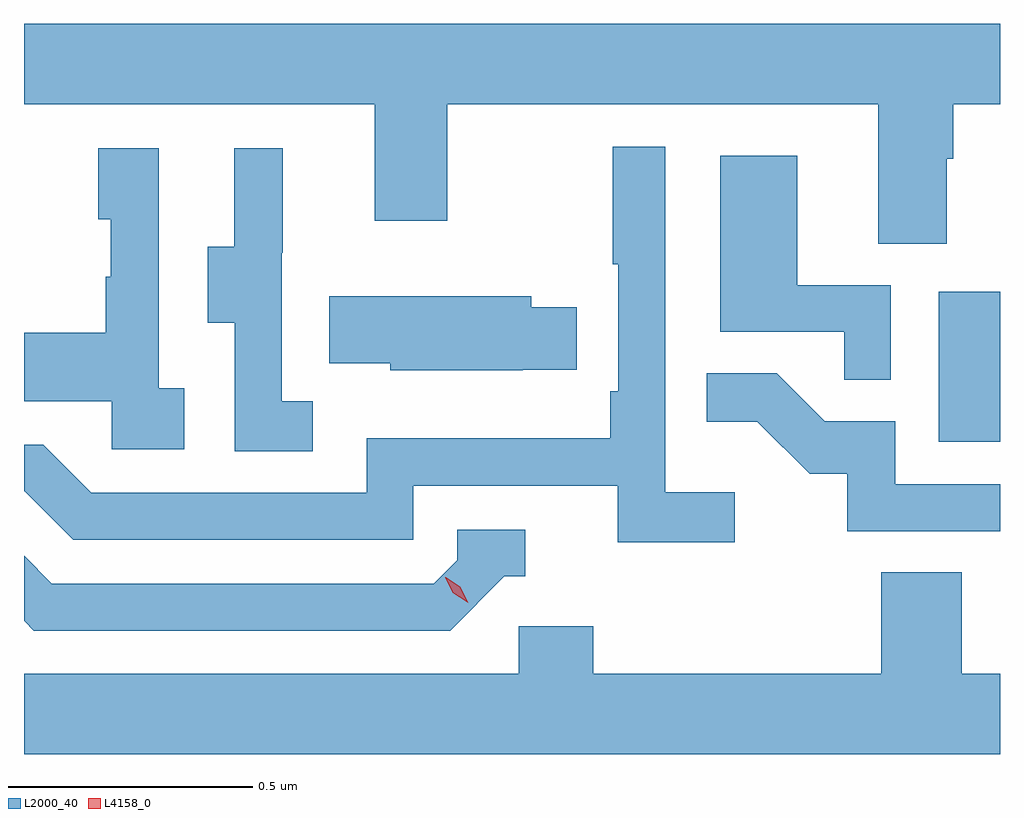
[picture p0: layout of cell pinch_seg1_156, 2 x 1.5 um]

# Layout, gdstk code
import gdstk
lib = gdstk.Library(unit=1e-6, precision=1e-09)
def R(c, l, rs):  # rectangles x0, y0, x1, y1
    for r in rs: c.add(gdstk.rectangle(r[:2], r[2:], *l))
def P(c, l, *ps):  # polygons
    for p in ps: c.add(gdstk.Polygon(p, *l))
L2000_40 = (2000, 40)
L4158_0 = (4158, 0)

pinch_seg1_156 = lib.new_cell('pinch_seg1_156')
R(pinch_seg1_156, L2000_40, [(1107.752,547.044,1107.878,547.351)])
P(pinch_seg1_156, L2000_40, [(1107.769,547.624),(1107.782,547.624),(1107.782,547.736),(1107.878,547.736),(1107.878,547.9),(1105.878,547.9),(1105.878,547.736),(1106.597,547.736),(1106.597,547.497),(1106.745,547.497),(1106.745,547.736),(1107.629,547.736),(1107.629,547.45),(1107.769,547.45)],
  [(1107.334,546.94),(1107.192,546.94),(1107.192,547.648),(1107.084,547.648),(1107.084,547.408),(1107.096,547.408),(1107.096,547.147),(1107.079,547.147),(1107.079,547.051),(1106.58,547.051),(1106.58,546.939),(1106.016,546.939),(1105.917,547.038),(1105.878,547.038),(1105.878,546.942),(1105.88,546.942),(1105.979,546.843),(1106.676,546.843),(1106.676,546.954),(1107.095,546.954),(1107.095,546.838),(1107.334,546.838)],
  [(1106.206,547.154),(1106.154,547.154),(1106.154,547.645),(1106.03,547.645),(1106.03,547.5),(1106.056,547.5),(1106.056,547.382),(1106.046,547.382),(1106.046,547.267),(1105.878,547.267),(1105.878,547.127),(1106.058,547.127),(1106.058,547.029),(1106.206,547.029)],
  [(1106.47,547.127),(1106.406,547.127),(1106.406,547.431),(1106.408,547.431),(1106.408,547.645),(1106.309,547.645),(1106.309,547.443),(1106.255,547.443),(1106.255,547.288),(1106.31,547.288),(1106.31,547.024),(1106.47,547.024)],
  [(1107.654,547.365),(1107.463,547.365),(1107.463,547.63),(1107.305,547.63),(1107.305,547.269),(1107.559,547.269),(1107.559,547.171),(1107.654,547.171)],
  [(1106.9,547.191),(1107.011,547.191),(1107.011,547.32),(1106.917,547.32),(1106.917,547.342),(1106.503,547.342),(1106.503,547.205),(1106.628,547.205),(1106.628,547.19),(1106.9,547.19)],
  [(1107.878,546.957),(1107.663,546.957),(1107.663,547.086),(1107.519,547.086),(1107.421,547.184),(1107.277,547.184),(1107.277,547.085),(1107.381,547.085),(1107.488,546.978),(1107.565,546.978),(1107.565,546.861),(1107.878,546.861)],
  [(1106.862,546.768),(1106.905,546.768),(1106.905,546.864),(1106.766,546.864),(1106.766,546.801),(1106.718,546.753),(1105.935,546.753),(1105.878,546.81),(1105.878,546.677),(1105.898,546.657),(1106.751,546.657)],
  [(1107.878,546.568),(1107.8,546.568),(1107.8,546.776),(1107.635,546.776),(1107.635,546.568),(1107.044,546.568),(1107.044,546.666),(1106.892,546.666),(1106.892,546.568),(1105.878,546.568),(1105.878,546.404),(1107.878,546.404)])
P(pinch_seg1_156, L4158_0, [(1106.788,546.714),(1106.757,546.734),(1106.741,546.766),(1106.741,546.766),(1106.742,546.766),(1106.772,546.747),(1106.788,546.714),(1106.788,546.714)])

lib.write_gds('pinch_seg1_156.gds')
